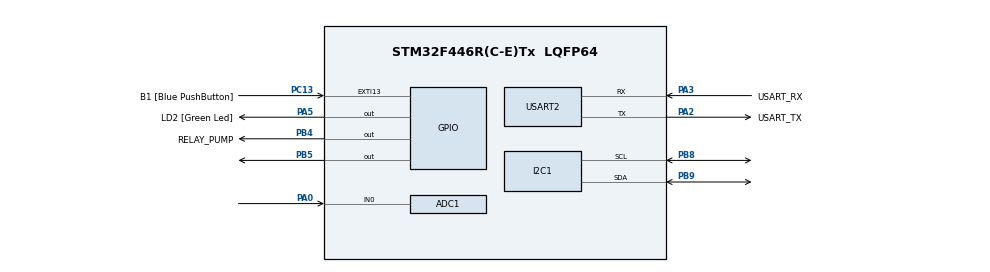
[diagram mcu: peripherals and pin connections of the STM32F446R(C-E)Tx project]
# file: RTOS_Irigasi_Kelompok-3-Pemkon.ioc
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ADC1.Channel-0\#ChannelRegularConversion=ADC_CHANNEL_0
ADC1.NbrOfConversionFlag=1
ADC1.Rank-0\#ChannelRegularConversion=1
ADC1.SamplingTime-0\#ChannelRegularConversion=ADC_SAMPLETIME_3CYCLES
ADC1.master=1
Dma.ADC1.0.Direction=DMA_PERIPH_TO_MEMORY
Dma.ADC1.0.FIFOMode=DMA_FIFOMODE_DISABLE
Dma.ADC1.0.Instance=DMA2_Stream0
Dma.ADC1.0.MemDataAlignment=DMA_MDATAALIGN_HALFWORD
Dma.ADC1.0.MemInc=DMA_MINC_ENABLE
Dma.ADC1.0.Mode=DMA_CIRCULAR
Dma.ADC1.0.PeriphDataAlignment=DMA_PDATAALIGN_HALFWORD
Dma.ADC1.0.PeriphInc=DMA_PINC_DISABLE
Dma.ADC1.0.Priority=DMA_PRIORITY_LOW
Dma.Request0=ADC1
FREERTOS.Tasks01=Tugas1,0,128,Pertama,Default,NULL,Dynamic,NULL,NULL;Tugas2,-3,128,Kedua,Default,NULL,Dynamic,NULL,NULL;Tugas3,-3,128,Ketiga,Default,NULL,Dynamic,NULL,NULL;Tugas4,-3,128,Keempat,Default,NULL,Dynamic,NULL,NULL
FREERTOS.configUSE_NEWLIB_REENTRANT=1
I2C1.I2C_Mode=I2C_Fast
Mcu.Family=STM32F4
Mcu.Name=STM32F446R(C-E)Tx
Mcu.Package=LQFP64
NVIC.DMA2_Stream0_IRQn=true\:5\:0\:false\:false\:true\:true\:false\:true\:true
NVIC.PriorityGroup=NVIC_PRIORITYGROUP_4
NVIC.TIM2_IRQn=true\:15\:0\:false\:false\:true\:false\:false\:true\:true
NVIC.TimeBase=TIM2_IRQn
NVIC.TimeBaseIP=TIM2
PA0-WKUP.Signal=ADCx_IN0
PA13.GPIO_Label=TMS
PA13.Mode=Serial_Wire
PA13.Signal=SYS_JTMS-SWDIO
PA14.GPIO_Label=TCK
PA14.Mode=Serial_Wire
PA14.Signal=SYS_JTCK-SWCLK
PA2.GPIO_Label=USART_TX
PA2.Mode=Asynchronous
PA2.Signal=USART2_TX
PA3.GPIO_Label=USART_RX
PA3.Mode=Asynchronous
PA3.Signal=USART2_RX
PA5.GPIO_Label=LD2 [Green Led]
PA5.Signal=GPIO_Output
PB3.GPIO_Label=SWO
PB3.Signal=SYS_JTDO-SWO
PB4.GPIO_Label=RELAY_PUMP
PB4.Signal=GPIO_Output
PB5.Signal=GPIO_Output
PB8.Mode=I2C
PB8.Signal=I2C1_SCL
PB9.Mode=I2C
PB9.Signal=I2C1_SDA
PC13.GPIO_Label=B1 [Blue PushButton]
PC13.GPIO_ModeDefaultEXTI=GPIO_MODE_IT_FALLING
PC13.Signal=GPXTI13
PC14-OSC32_IN.Mode=LSE-External-Oscillator
PC14-OSC32_IN.Signal=RCC_OSC32_IN
PC15-OSC32_OUT.Mode=LSE-External-Oscillator
PC15-OSC32_OUT.Signal=RCC_OSC32_OUT
PH0-OSC_IN.Mode=HSE-External-Oscillator
PH0-OSC_IN.Signal=RCC_OSC_IN
PH1-OSC_OUT.Mode=HSE-External-Oscillator
PH1-OSC_OUT.Signal=RCC_OSC_OUT
ProjectManager.HeapSize=0x200
ProjectManager.StackSize=0x400
ProjectManager.TargetToolchain=STM32CubeIDE
RCC.48MHZClocksFreq_Value=84000000
RCC.AHBFreq_Value=180000000
RCC.APB1CLKDivider=RCC_HCLK_DIV4
RCC.APB1Freq_Value=45000000
RCC.APB1TimFreq_Value=90000000
RCC.APB2CLKDivider=RCC_HCLK_DIV2
RCC.APB2Freq_Value=90000000
RCC.APB2TimFreq_Value=180000000
RCC.CortexFreq_Value=180000000
RCC.FLatency-AdvancedSettings=FLASH_LATENCY_5
RCC.HCLKFreq_Value=180000000
RCC.HSE_VALUE=8000000
RCC.HSI_VALUE=16000000
RCC.PLLM=4
RCC.PLLN=180
RCC.PLLSourceVirtual=RCC_PLLSOURCE_HSE
RCC.SYSCLKFreq_VALUE=180000000
RCC.SYSCLKSource=RCC_SYSCLKSOURCE_PLLCLK
RCC.USBFreq_Value=180000000
RCC.VCOOutputFreq_Value=360000000
SH.ADCx_IN0.0=ADC1_IN0,IN0
USART2.VirtualMode=VM_ASYNC
VP_FREERTOS_VS_CMSIS_V1.Mode=CMSIS_V1
VP_SYS_VS_tim2.Mode=TIM2
board=NUCLEO-F446RE

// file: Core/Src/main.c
/* USER CODE BEGIN Header */
/**
  ******************************************************************************
  * @file           : main.c
  * @brief          : Main program body
  ******************************************************************************
  * @attention
  *
  * Copyright (c) 2025 STMicroelectronics.
  * All rights reserved.
  *
  * This software is licensed under terms that can be found in the LICENSE file
  * in the root directory of this software component.
  * If no LICENSE file comes with this software, it is provided AS-IS.
  *
  ******************************************************************************
  */
/* USER CODE END Header */

#include "main.h"       // Header utama proyek, menyertakan definisi dan prototipe dasar
                        // SEI CERT C: DCL31-C — Identifier harus dideklarasikan sebelum digunakan
#include "cmsis_os.h"   // Header RTOS CMSIS
#include "i2c-lcd.h"    // Header untuk konfigurasi dan fungsi-fungsi kontrol LCD berbasis I2C

#include "DS3231.h"     // Header untuk pengendalian modul RTC DS3231
#include <stdio.h>      // Untuk fungsi printf() dan output standar
                        // SEI CERT C: FIO30-C — Hindari format string dari input yang tidak tepercaya
/* USER CODE END Includes */

/* USER CODE BEGIN PTD */
ds3231_data_struct currentTime;  // Variable untuk menyimpan waktu RTC
/* USER CODE END PTD */

ADC_HandleTypeDef hadc1;          // Handle ADC1 untuk pembacaan analog
DMA_HandleTypeDef hdma_adc1;      // Handle DMA untuk ADC1

I2C_HandleTypeDef hi2c1;          // Handle komunikasi I2C

UART_HandleTypeDef huart2;        // Handle komunikasi UART2

osThreadId Tugas1Handle;          // Handle untuk Thread 1
osThreadId Tugas2Handle;          // Handle untuk Thread 2
osThreadId Tugas3Handle;          // Handle untuk Thread 3
osThreadId Tugas4Handle;          // Handle untuk Thread 4
/* USER CODE BEGIN PV */
volatile uint8_t pompaStatus = 0;      // Status Pompa (0: OFF, 1: ON)
volatile uint8_t countdown = 0;        // Timer countdown untuk pompa aktif
                                    //(CON34-C: Volatile untuk shared variable)
/* USER CODE END PV */

                                                         // (DCL31-C: Deklarasi sebelum digunakan)
void SystemClock_Config(void);                       // Fungsi konfigurasi clock sistem
static void MX_GPIO_Init(void);                      // Inisialisasi pin GPIO
static void MX_DMA_Init(void);                       // Inisialisasi DMA
static void MX_USART2_UART_Init(void);               // Inisialisasi USART2
static void MX_ADC1_Init(void);                      // Inisialisasi ADC1
static void MX_I2C1_Init(void);                      // Inisialisasi I2C1
void Pertama(void const * argument);                 // Thread 1: baca RTC
void Kedua(void const * argument);                   // Thread 2: kontrol pompa otomatis
void Ketiga(void const * argument);                  // Thread 3: update LCD
void Keempat(void const * argument);                 // Thread 4: countdown pompa

int main(void)
{

	  /* MCU Configuration--------------------------------------------------------*/

	  /* Reset of all peripherals, Initializes the Flash interface and the Systick. */
	  HAL_Init(); // SEI CERT C: MEM34-C — Hanya membebaskan memori yang dialokasikan secara dinamis. Ini adalah inisialisasi untuk semua perangkat keras, termasuk pembebasan memori jika diperlukan.

	  /* Configure the system clock */
	  SystemClock_Config(); // SEI CERT C: EXP35-C — Jangan mengubah objek dengan umur sementara. Fungsi ini mengonfigurasi sistem clock, yang penting untuk kestabilan perangkat keras.

	  /* Initialize all configured peripherals */
	  MX_GPIO_Init(); // SEI CERT C: DCL31-C — Identifier harus dideklarasikan sebelum digunakan. Menginisialisasi GPIO (General Purpose Input Output) yang dibutuhkan.
	  MX_DMA_Init();  // SEI CERT C: DCL31-C — Identifier harus dideklarasikan sebelum digunakan. Menginisialisasi DMA (Direct Memory Access) untuk efisiensi transfer data.
	  MX_USART2_UART_Init(); // SEI CERT C: DCL31-C — Identifier harus dideklarasikan sebelum digunakan. Inisialisasi UART untuk komunikasi serial.
	  MX_ADC1_Init(); // SEI CERT C: DCL31-C — Identifier harus dideklarasikan sebelum digunakan. Inisialisasi ADC (Analog-to-Digital Converter) untuk pembacaan data analog.
	  MX_I2C1_Init(); // SEI CERT C: DCL31-C — Identifier harus dideklarasikan sebelum digunakan. Menginisialisasi I2C (Inter-Integrated Circuit) untuk komunikasi data.

	  /* USER CODE BEGIN RTOS_MUTEX */
	  /* add mutexes, ... */  // SEI CERT C: CON34-C — Gunakan mutex yang tepat untuk melindungi data bersama di lingkungan multitasking.
	  /* USER CODE END RTOS_MUTEX */

	  /* USER CODE BEGIN RTOS_SEMAPHORES */
	  /* add semaphores, ... */  // SEI CERT C: CON34-C — Gunakan semaphores untuk sinkronisasi thread di sistem operasi waktu nyata.
	  /* USER CODE END RTOS_SEMAPHORES */

	  /* USER CODE BEGIN RTOS_TIMERS */
	  /* start timers, add new ones, ... */  // SEI CERT C: CON34-C — Menambahkan timer dengan penjadwalan yang sesuai dalam sistem multitasking.
	  /* USER CODE END RTOS_TIMERS */

	  /* USER CODE BEGIN RTOS_QUEUES */
	  /* add queues, ... */ // SEI CERT C: CON34-C — Menambahkan antrian untuk pengelolaan komunikasi antar thread yang aman.
	  /* USER CODE END RTOS_QUEUES */

	  /* Create the thread(s) */
	  /* definition and creation of Tugas1 */
	  osThreadDef(Tugas1, Pertama, osPriorityNormal, 0, 128);  // SEI CERT C: CON34-C — Menggunakan penjadwalan thread dengan prioritas yang sesuai untuk alokasi waktu prosesor.
	  Tugas1Handle = osThreadCreate(osThread(Tugas1), NULL); // SEI CERT C: CON34-C — Penggunaan thread untuk operasi yang dijadwalkan dengan baik.

	  /* definition and creation of Tugas2 */
	  osThreadDef(Tugas2, Kedua, osPriorityIdle, 0, 128);  // SEI CERT C: CON34-C — Penggunaan thread dengan prioritas rendah untuk operasi latar belakang.
	  Tugas2Handle = osThreadCreate(osThread(Tugas2), NULL); // SEI CERT C: CON34-C — Membuat thread kedua untuk manajemen pompa otomatis.

	  /* definition and creation of Tugas3 */
	  osThreadDef(Tugas3, Ketiga, osPriorityIdle, 0, 128);  // SEI CERT C: CON34-C — Menjadwalkan thread untuk operasi dengan prioritas rendah.
	  Tugas3Handle = osThreadCreate(osThread(Tugas3), NULL); // SEI CERT C: CON34-C — Thread ketiga untuk pembaruan LCD.

	  /* definition and creation of Tugas4 */
	  osThreadDef(Tugas4, Keempat, osPriorityIdle, 0, 128);  // SEI CERT C: CON34-C — Membuat thread untuk countdown pompa.
	  Tugas4Handle = osThreadCreate(osThread(Tugas4), NULL); // SEI CERT C: CON34-C — Menggunakan thread keempat untuk countdown dan pengelolaan status pompa.

	  /* Start scheduler */
	  osKernelStart();  // SEI CERT C: CON34-C — Memulai kernel RTOS, mengelola scheduler untuk pengelolaan thread secara efektif.

	  /* We should never get here as control is now taken by the scheduler */

	  /* Infinite loop */
	  /* USER CODE BEGIN WHILE */
	  while (1)  // SEI CERT C: CON34-C — Thread utama yang tetap berjalan tanpa henti setelah scheduler dimulai.
	  {
	    /* USER CODE END WHILE */

	  }
	}

	/**
	  * @brief System Clock Configuration
	  * @retval None
	  */
	void SystemClock_Config(void)
	{
	  RCC_OscInitTypeDef RCC_OscInitStruct = {0};
	  RCC_ClkInitTypeDef RCC_ClkInitStruct = {0};

	  /** Configure the main internal regulator output voltage
	  */
	  __HAL_RCC_PWR_CLK_ENABLE();  // SEI CERT C: MEM34-C — Mengonfigurasi regulator internal yang aman untuk sistem daya yang lebih stabil.
	  __HAL_PWR_VOLTAGESCALING_CONFIG(PWR_REGULATOR_VOLTAGE_SCALE1);

	  /** Initializes the RCC Oscillators according to the specified parameters
	  * in the RCC_OscInitTypeDef structure.
	  */
	  RCC_OscInitStruct.OscillatorType = RCC_OSCILLATORTYPE_HSE;
	  RCC_OscInitStruct.HSEState = RCC_HSE_ON;
	  RCC_OscInitStruct.PLL.PLLState = RCC_PLL_ON;
	  RCC_OscInitStruct.PLL.PLLSource = RCC_PLLSOURCE_HSE;
	  RCC_OscInitStruct.PLL.PLLM = 4;
	  RCC_OscInitStruct.PLL.PLLN = 180;
	  RCC_OscInitStruct.PLL.PLLP = RCC_PLLP_DIV2;
	  RCC_OscInitStruct.PLL.PLLQ = 2;
	  RCC_OscInitStruct.PLL.PLLR = 2;
	  if (HAL_RCC_OscConfig(&RCC_OscInitStruct) != HAL_OK)  // SEI CERT C: ERR30-C — Jika konfigurasi gagal, proses harus menghentikan eksekusi atau menangani kesalahan.
	  {
	    Error_Handler();  // SEI CERT C: ERR33-C — Menangani kesalahan dengan cara yang sesuai dengan protokol.
	  }
	  /** Activate the Over-Drive mode
	    */
	    if (HAL_PWREx_EnableOverDrive() != HAL_OK)  // SEI CERT C: ERR30-C — Setel errno ke nol sebelum memanggil fungsi pustaka yang diketahui akan mengatur errno, dan periksa errno hanya setelah fungsi mengembalikan nilai yang menunjukkan kegagalan. Dalam hal ini, jika overdrive mode gagal diaktifkan, fungsi `Error_Handler()` dipanggil.
	    {
	      Error_Handler();  // SEI CERT C: ERR33-C — Penanganan kesalahan dengan cara yang tepat saat kegagalan terjadi, menghindari sistem melanjutkan dengan konfigurasi yang tidak valid.
	    }

	    /** Initializes the CPU, AHB and APB buses clocks
	    */
	    RCC_ClkInitStruct.ClockType = RCC_CLOCKTYPE_HCLK|RCC_CLOCKTYPE_SYSCLK
	                                |RCC_CLOCKTYPE_PCLK1|RCC_CLOCKTYPE_PCLK2;  // SEI CERT C: EXP30-C — Tidak bergantung pada urutan evaluasi untuk efek samping. Menginisialisasi jenis clock yang diperlukan.
	    RCC_ClkInitStruct.SYSCLKSource = RCC_SYSCLKSOURCE_PLLCLK;  // SEI CERT C: EXP30-C — Mengonfigurasi sumber clock sistem (dari PLL).
	    RCC_ClkInitStruct.AHBCLKDivider = RCC_SYSCLK_DIV1;  // SEI CERT C: EXP30-C — Mengatur pembagi clock AHB.
	    RCC_ClkInitStruct.APB1CLKDivider = RCC_HCLK_DIV4;  // SEI CERT C: EXP30-C — Mengatur pembagi clock APB1.
	    RCC_ClkInitStruct.APB2CLKDivider = RCC_HCLK_DIV2;  // SEI CERT C: EXP30-C — Mengatur pembagi clock APB2.

	    if (HAL_RCC_ClockConfig(&RCC_ClkInitStruct, FLASH_LATENCY_5) != HAL_OK)  // SEI CERT C: ERR30-C — Jika konfigurasi gagal, proses harus dihentikan atau kesalahan harus ditangani.
	    {
	      Error_Handler();  // SEI CERT C: ERR33-C — Menangani kesalahan jika konfigurasi clock gagal.
	    }
	  }

	  /**
	    * @brief ADC1 Initialization Function
	    * @param None
	    * @retval None
	    */
	  static void MX_ADC1_Init(void)
	  {

	    ADC_ChannelConfTypeDef sConfig = {0};

	    /** Configure the global features of the ADC (Clock, Resolution, Data Alignment and number of conversion)
	    */
	    hadc1.Instance = ADC1;  // SEI CERT C: DCL31-C — Identifier harus dideklarasikan sebelum digunakan. Menetapkan instance ADC1.
	    hadc1.Init.ClockPrescaler = ADC_CLOCK_SYNC_PCLK_DIV4;  // SEI CERT C: EXP30-C — Tidak bergantung pada urutan evaluasi untuk efek samping. Menetapkan prescaler clock untuk ADC.
	    hadc1.Init.Resolution = ADC_RESOLUTION_12B;  // SEI CERT C: EXP30-C — Menetapkan resolusi ADC menjadi 12 bit untuk akurasi yang lebih tinggi.
	    hadc1.Init.ScanConvMode = DISABLE;  // SEI CERT C: EXP30-C — Menonaktifkan mode konversi pemindaian karena hanya satu saluran ADC yang digunakan.
	    hadc1.Init.ContinuousConvMode = DISABLE;  // SEI CERT C: EXP30-C — Mode konversi kontinu dimatikan, hanya konversi satu kali.
	    hadc1.Init.DiscontinuousConvMode = DISABLE;  // SEI CERT C: EXP30-C — Mode konversi terputus dimatikan.
	    hadc1.Init.ExternalTrigConvEdge = ADC_EXTERNALTRIGCONVEDGE_NONE;  // SEI CERT C: EXP30-C — Tidak ada pemicu eksternal untuk konversi ADC.
	    hadc1.Init.ExternalTrigConv = ADC_SOFTWARE_START;  // SEI CERT C: EXP30-C — Konversi ADC dimulai dengan perintah perangkat lunak.
	    hadc1.Init.DataAlign = ADC_DATAALIGN_RIGHT;  // SEI CERT C: EXP30-C — Menyelaraskan data hasil konversi ke kanan.
	    hadc1.Init.NbrOfConversion = 1;  // SEI CERT C: EXP30-C — Hanya satu konversi yang diperlukan.
	    hadc1.Init.DMAContinuousRequests = DISABLE;  // SEI CERT C: EXP30-C — Menonaktifkan permintaan DMA secara kontinu.
	    hadc1.Init.EOCSelection = ADC_EOC_SINGLE_CONV;  // SEI CERT C: EXP30-C — Mengonfigurasi pemilihan akhir konversi untuk mode satu konversi.

	    if (HAL_ADC_Init(&hadc1) != HAL_OK)  // SEI CERT C: ERR30-C — Menangani kesalahan jika inisialisasi ADC gagal.
	    {
	      Error_Handler();  // SEI CERT C: ERR33-C — Menangani kesalahan jika inisialisasi ADC gagal.
	    }

	    /** Configure for the selected ADC regular channel its corresponding rank in the sequencer and its sample time.
	    */
	    sConfig.Channel = ADC_CHANNEL_0;  // SEI CERT C: DCL31-C — Identifier harus dideklarasikan sebelum digunakan. Menetapkan saluran ADC yang akan digunakan.
	    sConfig.Rank = 1;  // SEI CERT C: DCL31-C — Menetapkan peringkat saluran ADC dalam urutan konversi.
	    sConfig.SamplingTime = ADC_SAMPLETIME_3CYCLES;  // SEI CERT C: EXP30-C — Menetapkan waktu sampling untuk saluran ADC.
	    if (HAL_ADC_ConfigChannel(&hadc1, &sConfig) != HAL_OK)  // SEI CERT C: ERR30-C — Menangani kesalahan jika konfigurasi saluran ADC gagal.
	    {
	      Error_Handler();  // SEI CERT C: ERR33-C — Menangani kesalahan jika konfigurasi saluran gagal.
	    }

	  }

	  /**
	    * @brief I2C1 Initialization Function
	    * @param None
	    * @retval None
	    */
	  static void MX_I2C1_Init(void)
	  {

	    hi2c1.Instance = I2C1;  // SEI CERT C: DCL31-C — Identifier harus dideklarasikan sebelum digunakan. Inisialisasi instance I2C1.
	    hi2c1.Init.ClockSpeed = 400000;  // SEI CERT C: EXP30-C — Mengatur kecepatan clock untuk I2C sesuai kebutuhan aplikasi.
	    hi2c1.Init.DutyCycle = I2C_DUTYCYCLE_2;  // SEI CERT C: EXP30-C — Menetapkan siklus tugas untuk I2C, memastikan pengoperasian yang efisien.
	    hi2c1.Init.OwnAddress1 = 0;  // SEI CERT C: DCL31-C — Mengatur alamat perangkat I2C pertama.
	    hi2c1.Init.AddressingMode = I2C_ADDRESSINGMODE_7BIT;  // SEI CERT C: EXP30-C — Menetapkan mode pengalamatan 7-bit untuk I2C.
	    hi2c1.Init.DualAddressMode = I2C_DUALADDRESS_DISABLE;  // SEI CERT C: EXP30-C — Nonaktifkan mode dual-address untuk pengaturan I2C.
	    hi2c1.Init.OwnAddress2 = 0;  // SEI CERT C: DCL31-C — Mengatur alamat kedua (jika digunakan) pada perangkat I2C.
	    hi2c1.Init.GeneralCallMode = I2C_GENERALCALL_DISABLE;  // SEI CERT C: EXP30-C — Nonaktifkan mode panggilan umum untuk I2C.
	    hi2c1.Init.NoStretchMode = I2C_NOSTRETCH_DISABLE;  // SEI CERT C: EXP30-C — Nonaktifkan mode tanpa penundaan (no-stretching) pada I2C.

	    if (HAL_I2C_Init(&hi2c1) != HAL_OK)  // SEI CERT C: ERR30-C — Menangani kesalahan jika inisialisasi I2C gagal.
	    {
	      Error_Handler();  // SEI CERT C: ERR33-C — Memanggil fungsi penanganan kesalahan jika inisialisasi gagal.
	    }

	  }

	  /**
	    * @brief USART2 Initialization Function
	    * @param None
	    * @retval None
	    */
	  static void MX_USART2_UART_Init(void)
	  {

	    huart2.Instance = USART2;  // SEI CERT C: DCL31-C — Identifier harus dideklarasikan sebelum digunakan. Menetapkan instance USART2 untuk komunikasi serial.
	    huart2.Init.BaudRate = 115200;  // SEI CERT C: EXP30-C — Mengatur kecepatan baud untuk komunikasi UART.
	    huart2.Init.WordLength = UART_WORDLENGTH_8B;  // SEI CERT C: EXP30-C — Mengatur panjang kata data UART menjadi 8 bit.
	    huart2.Init.StopBits = UART_STOPBITS_1;  // SEI CERT C: EXP30-C — Menetapkan satu bit stop untuk komunikasi UART.
	    huart2.Init.Parity = UART_PARITY_NONE;  // SEI CERT C: EXP30-C — Menonaktifkan pemeriksaan paritas untuk komunikasi UART.
	    huart2.Init.Mode = UART_MODE_TX_RX;  // SEI CERT C: EXP30-C — Mengaktifkan mode pengiriman dan penerimaan UART.
	    huart2.Init.HwFlowCtl = UART_HWCONTROL_NONE;  // SEI CERT C: EXP30-C — Menonaktifkan kontrol aliran perangkat keras untuk UART.
	    huart2.Init.OverSampling = UART_OVERSAMPLING_16;  // SEI CERT C: EXP30-C — Mengaktifkan oversampling untuk komunikasi UART.

	    if (HAL_UART_Init(&huart2) != HAL_OK)  // SEI CERT C: ERR30-C — Menangani kesalahan jika inisialisasi UART gagal.
	    {
	      Error_Handler();  // SEI CERT C: ERR33-C — Memanggil fungsi penanganan kesalahan jika inisialisasi gagal.
	    }

	  }

	  /**
	    * Enable DMA controller clock
	    */
	  static void MX_DMA_Init(void)
	  {

	    /* DMA controller clock enable */
	    __HAL_RCC_DMA2_CLK_ENABLE();  // SEI CERT C: MEM34-C — Mengaktifkan clock DMA2 untuk pengelolaan transfer data.

	    /* DMA interrupt init */
	    /* DMA2_Stream0_IRQn interrupt configuration */
	    HAL_NVIC_SetPriority(DMA2_Stream0_IRQn, 5, 0);  // SEI CERT C: CON34-C — Mengonfigurasi prioritas interrupt DMA untuk memastikan pengelolaan interrupt yang efisien.
	    HAL_NVIC_EnableIRQ(DMA2_Stream0_IRQn);  // SEI CERT C: CON34-C — Mengaktifkan interrupt DMA untuk pemrosesan data.

	  }

	  /**
	    * @brief GPIO Initialization Function
	    * @param None
	    * @retval None
	    */
	  static void MX_GPIO_Init(void)
	  {
	    GPIO_InitTypeDef GPIO_InitStruct = {0};

	    /* GPIO Ports Clock Enable */
	    __HAL_RCC_GPIOC_CLK_ENABLE();  // SEI CERT C: MEM34-C — Mengaktifkan clock untuk port GPIOC untuk memastikan port dapat digunakan.
	    __HAL_RCC_GPIOH_CLK_ENABLE();  // SEI CERT C: MEM34-C — Mengaktifkan clock untuk port GPIOH.
	    __HAL_RCC_GPIOA_CLK_ENABLE();  // SEI CERT C: MEM34-C — Mengaktifkan clock untuk port GPIOA.
	    __HAL_RCC_GPIOB_CLK_ENABLE();  // SEI CERT C: MEM34-C — Mengaktifkan clock untuk port GPIOB.

	    /*Configure GPIO pin Output Level */
	    HAL_GPIO_WritePin(LD2_GPIO_Port, LD2_Pin, GPIO_PIN_RESET);  // SEI CERT C: EXP30-C — Menulis level output pin GPIO untuk mengatur status LED (off).

	    /*Configure GPIO pin Output Level */
	    HAL_GPIO_WritePin(GPIOB, RELAY_PUMP_Pin|GPIO_PIN_5, GPIO_PIN_RESET);  // SEI CERT C: EXP30-C — Menulis level output pin GPIO untuk mengatur status relay pompa (off).

	    /*Configure GPIO pin : B1_Pin */
	    GPIO_InitStruct.Pin = B1_Pin;  // SEI CERT C: DCL31-C — Menetapkan pin B1 untuk input eksternal.
	    GPIO_InitStruct.Mode = GPIO_MODE_IT_FALLING;  // SEI CERT C: EXP30-C — Mengonfigurasi pin B1 sebagai input dengan interrupt pada sisi jatuh (falling edge).
	    GPIO_InitStruct.Pull = GPIO_NOPULL;  // SEI CERT C: EXP30-C — Menonaktifkan pull-up/pull-down pada pin B1.
	    HAL_GPIO_Init(B1_GPIO_Port, &GPIO_InitStruct);  // SEI CERT C: DCL31-C — Inisialisasi pin GPIO dengan pengaturan yang ditetapkan.

	    /*Configure GPIO pin : LD2_Pin */
	    GPIO_InitStruct.Pin = LD2_Pin;  // SEI CERT C: DCL31-C — Mengonfigurasi pin LD2 untuk output.
	    GPIO_InitStruct.Mode = GPIO_MODE_OUTPUT_PP;  // SEI CERT C: EXP30-C — Mengonfigurasi pin LD2 sebagai output push-pull.
	    GPIO_InitStruct.Pull = GPIO_NOPULL;  // SEI CERT C: EXP30-C — Menonaktifkan pull-up/pull-down pada pin LD2.
	    GPIO_InitStruct.Speed = GPIO_SPEED_FREQ_LOW;  // SEI CERT C: EXP30-C — Menetapkan kecepatan rendah untuk pin LD2.
	    HAL_GPIO_Init(LD2_GPIO_Port, &GPIO_InitStruct);  // SEI CERT C: DCL31-C — Inisialisasi pin GPIO LD2.

	    /*Configure GPIO pins : RELAY_PUMP_Pin PB5 */
	    GPIO_InitStruct.Pin = RELAY_PUMP_Pin|GPIO_PIN_5;  // SEI CERT C: DCL31-C — Menetapkan pin untuk relay pompa dan pin GPIO lainnya.
	    GPIO_InitStruct.Mode = GPIO_MODE_OUTPUT_PP;  // SEI CERT C: EXP30-C — Mengonfigurasi pin sebagai output push-pull.
	    GPIO_InitStruct.Pull = GPIO_NOPULL;  // SEI CERT C: EXP30-C — Menonaktifkan pull-up/pull-down pada pin GPIO.
	    GPIO_InitStruct.Speed = GPIO_SPEED_FREQ_LOW;  // SEI CERT C: EXP30-C — Menetapkan kecepatan rendah untuk pin GPIO.
	    HAL_GPIO_Init(GPIOB, &GPIO_InitStruct);  // SEI CERT C: DCL31-C — Inisialisasi pin GPIO untuk relay pompa.

	    }

	    void Pertama(void const * argument)
	    {
	      /* USER CODE BEGIN 5 */
	      /* Infinite loop */
	      for(;;)  // SEI CERT C: CON34-C — Gunakan pengendalian alur yang jelas dalam loop tak terbatas untuk menghindari kebingungannya alur eksekusi. Ini adalah thread yang memproses waktu setiap detik.
	      {
	        ds3231_get_time(&currentTime);  // Membaca waktu RTC
	        osDelay(1000);  // SEI CERT C: CON34-C — Menggunakan penjadwalan thread dengan delay yang sesuai agar sistem tidak terkunci dalam operasi panjang tanpa respons.
	      }
	      /* USER CODE END 5 */
	    }

	    void Kedua(void const * argument)
	    {
	      /* USER CODE BEGIN Kedua */
	      /* Infinite loop */
	      for(;;)  // SEI CERT C: CON34-C — Menggunakan loop tak terbatas untuk memeriksa waktu dan mengontrol status pompa.
	      {
	        // Cek waktu untuk menyalakan/mematikan pompa secara otomatis
	        if ((currentTime.hours == 6 && currentTime.minutes < 30) ||
	            (currentTime.hours == 16 && currentTime.minutes < 30))  // SEI CERT C: EXP30-C — Menggunakan perbandingan waktu dengan akurat.
	        {
	          if (pompaStatus == 0) // Pompa masih mati
	          {
	            HAL_GPIO_WritePin(RELAY_PUMP_GPIO_Port, RELAY_PUMP_Pin, GPIO_PIN_SET); // Nyalakan pompa
	            pompaStatus = 1;  // SEI CERT C: MEM30-C — Mengubah status pompa dengan tepat untuk menjaga konsistensi status.
	            countdown = 60;  // SEI CERT C: MEM30-C — Menetapkan countdown ketika pompa dinyalakan.
	            printf("Pompa ON: %02d:%02d:%02d\r\n", currentTime.hours, currentTime.minutes, currentTime.seconds);
	          }
	        }
	        else
	        {
	          if (pompaStatus == 1) // Pompa sedang menyala
	          {
	            HAL_GPIO_WritePin(RELAY_PUMP_GPIO_Port, RELAY_PUMP_Pin, GPIO_PIN_RESET); // Matikan pompa
	            pompaStatus = 0;  // SEI CERT C: MEM30-C — Mengubah status pompa dengan tepat ketika dimatikan.
	            printf("Pompa OFF: %02d:%02d:%02d\r\n", currentTime.hours, currentTime.minutes, currentTime.seconds);
	          }
	        }
	        if (countdown == 0 && pompaStatus == 1) {  // SEI CERT C: EXP33-C — Pastikan untuk memeriksa kondisi valid sebelum menggunakan variabel dalam operasi.
	          HAL_GPIO_WritePin(RELAY_PUMP_GPIO_Port, RELAY_PUMP_Pin, GPIO_PIN_RESET);
	          pompaStatus = 0;
	        }
	        osDelay(1000);  // SEI CERT C: CON34-C — Menggunakan delay untuk interval 1 detik agar sistem tetap responsif.
	      }
	      /* USER CODE END Kedua */
	    }

	    void Ketiga(void const * argument)
	    {
	      /* USER CODE BEGIN Ketiga */
	      char buffer[20]; // SEI CERT C: MEM30-C — Pastikan bahwa buffer memiliki ukuran yang cukup untuk menyimpan string yang diproses.
	      for(;;) {
	        lcd_clear();  // SEI CERT C: EXP30-C — Menggunakan fungsi untuk menghapus layar, memastikan tampilan yang konsisten.
	        lcd_put_cur(0, 0);
	        sprintf(buffer, "Time: %02d:%02d:%02d", currentTime.hours, currentTime.minutes, currentTime.seconds);  // SEI CERT C: FIO30-C — Hindari format string dari input yang tidak tepercaya.
	        lcd_send_string(buffer); // Kirim buffer ke LCD

	        lcd_put_cur(1, 0);
	        if (pompaStatus == 1) { // Pastikan variabel konsisten (pompaStatus, bukan pumpOn)
	          sprintf(buffer, "Pompa ON - %02d:%02d", countdown / 60, countdown % 60);  // SEI CERT C: FIO30-C — Hindari format string yang tidak tepercaya.
	          lcd_send_string(buffer);
	        } else {
	          lcd_send_string("Pompa OFF");
	        }
	        if (pompaStatus == 1 && countdown > 0)  // SEI CERT C: EXP30-C — Menggunakan logika kondisi untuk menghitung countdown.
	        {
	          countdown--;  // SEI CERT C: MEM30-C — Mengurangi countdown setelah setiap detik.
	        }
	        osDelay(1000);  // SEI CERT C: CON34-C — Menunda eksekusi agar thread tetap responsif dan tidak terlalu sering memperbarui LCD.
	      }
	      /* USER CODE END Ketiga */
	    }

	    void Keempat(void const * argument)
	    {
	      /* USER CODE BEGIN Keempat */
	      /* Infinite loop */
	      for(;;)
	      {
	        // Countdown jika pompa aktif
	        if (pompaStatus && countdown > 0)  // SEI CERT C: EXP33-C — Pastikan kondisi valid sebelum menggunakan variabel dalam operasi.
	        {
	          countdown--;  // SEI CERT C: MEM30-C — Mengurangi countdown setiap detik.
	        }

	        osDelay(1000);  // SEI CERT C: CON34-C — Menunda eksekusi agar sistem tetap responsif dan menghitung countdown secara berkelanjutan.
	      }
	      /* USER CODE END Keempat */
	    }

	    /**
	      * @brief  Period elapsed callback in non blocking mode
	      * @note   This function is called  when TIM2 interrupt took place, inside
	      * HAL_TIM_IRQHandler(). It makes a direct call to HAL_IncTick() to increment
	      * a global variable "uwTick" used as application time base.
	      * @param  htim : TIM handle
	      * @retval None
	      */
	    void HAL_TIM_PeriodElapsedCallback(TIM_HandleTypeDef *htim)
	    {
	      if (htim->Instance == TIM2) {  // SEI CERT C: EXP30-C — Memastikan bahwa interupsi berasal dari timer yang tepat untuk menghindari kesalahan pemrosesan.
	        HAL_IncTick();  // SEI CERT C: EXP30-C — Memperbarui timer global yang digunakan untuk dasar waktu aplikasi.
	      }
	    }

	    /**
	      * @brief  This function is executed in case of error occurrence.
	      * @retval None
	      */
	    void Error_Handler(void)
	    {
	      /* USER CODE BEGIN Error_Handler_Debug */
	      /* User can add his own implementation to report the HAL error return state */
	      __disable_irq();  // SEI CERT C: ERR33-C — Menonaktifkan interupsi untuk mencegah eksekusi lebih lanjut jika terjadi kesalahan.
	      while (1)
	      {
	      }
	      /* USER CODE END Error_Handler_Debug */
	    }

	    #ifdef  USE_FULL_ASSERT
	    /**
	      * @brief  Reports the name of the source file and the source line number
	      *         where the assert_param error has occurred.
	      * @param  file: pointer to the source file name
	      * @param  line: assert_param error line source number
	      * @retval None
	      */
	    void assert_failed(uint8_t *file, uint32_t line)
	    {
	    }
	    #endif /* USE_FULL_ASSERT */
